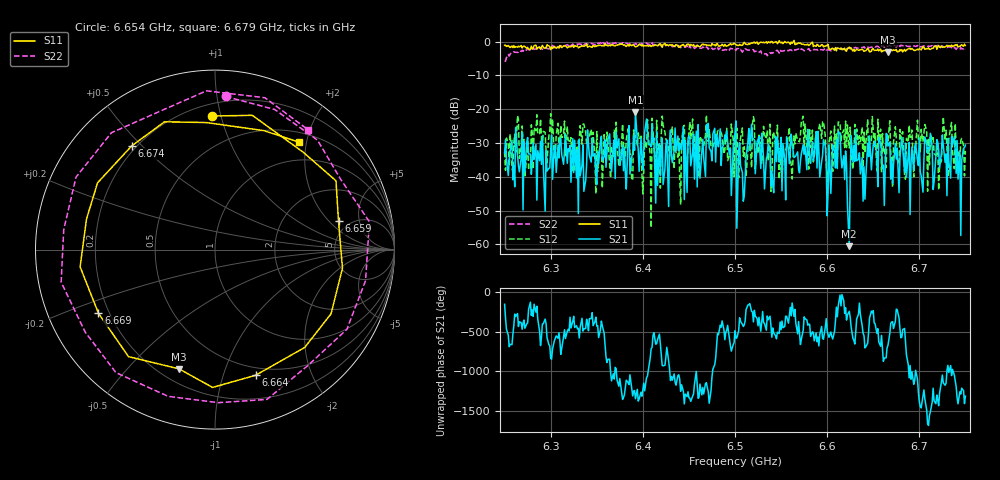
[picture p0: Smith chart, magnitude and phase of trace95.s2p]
# Hz S RI R 50
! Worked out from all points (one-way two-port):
!   401 points, 6.25 GHz to 6.75 GHz, reference 50 ohm
!   highest |S21| = -20.88 dB at 6.392 GHz (marker M1); lowest = -60.5 dB at 6.624 GHz (marker M2)
!   lowest |S11| = -3.2 dB at 6.666 GHz (marker M3), VSWR 5.54, Z = 13.8 - j35.3 ohm
!   |S11| at or under -10 dB: nowhere
!   |S22| runs from -5.8 to 0.0 dB; largest |S21 - S12| = 0.13
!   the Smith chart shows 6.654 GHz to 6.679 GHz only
!   S11 on the Smith chart (normalised r, x): 6.654 GHz: 0.28, +0.94; 6.659 GHz: 4.11, +2.58; 6.664 GHz: 0.42, -1.29; 6.669 GHz: 0.16, -0.25; 6.674 GHz: 0.18, +0.47; 6.679 GHz: 0.66, +1.86
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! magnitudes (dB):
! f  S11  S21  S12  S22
! 6.25 GHz  -1.1  -32.9  -32.6  -5.7
! 6.3 GHz  -2.4  -32.1  -21.3  -1.6
! 6.326 GHz  -1.2  -29.2  -38.4  -0.9
! 6.334 GHz  -1.2  -36.5  -30.3  -0.9
! 6.392 GHz  -1.6  -20.9  -27.8  -0.5
! 6.418 GHz  -0.8  -30.2  -30.1  -0.7
! 6.5 GHz  -0.7  -27.0  -29.1  -2.3
! 6.584 GHz  -0.1  -29.6  -26.2  -2.2
! 6.602 GHz  -2.2  -30.5  -29.8  -2.5
! 6.612 GHz  -1.9  -26.5  -23.7  -1.8
! 6.624 GHz  -1.6  -60.5  -31.5  -1.8
! 6.629 GHz  -2.3  -30.7  -33.8  -1.7
! 6.64 GHz  -2.8  -37.0  -26.7  -1.5
! 6.654 GHz  -2.6  -33.9  -38.2  -1.4
! 6.659 GHz  -3.0  -31.8  -38.7  -1.2
! 6.664 GHz  -2.7  -27.2  -37.3  -1.1
! 6.666 GHz  -3.2  -30.9  -29.2  -1.3
! 6.668 GHz  -2.3  -29.8  -23.4  -1.1
! 6.669 GHz  -2.6  -40.7  -33.2  -1.3
! 6.674 GHz  -2.6  -30.2  -25.2  -1.2
! 6.679 GHz  -2.4  -34.5  -26.0  -1.5
! 6.75 GHz  -1.1  -30.6  -32.3  -2.3
